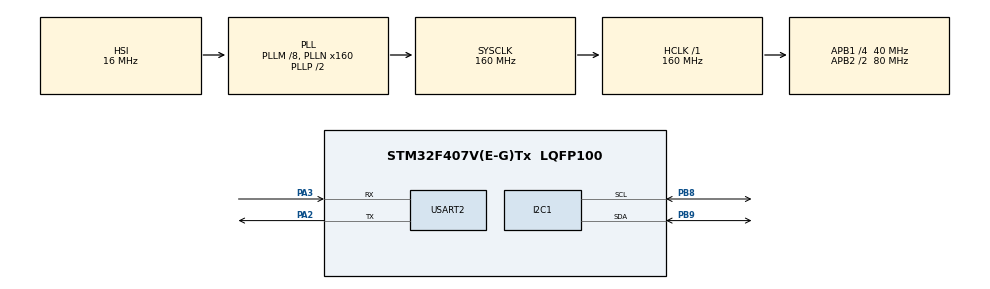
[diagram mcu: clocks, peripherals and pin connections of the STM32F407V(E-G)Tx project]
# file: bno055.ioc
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Dma.I2C1_RX.0.Direction=DMA_PERIPH_TO_MEMORY
Dma.I2C1_RX.0.FIFOMode=DMA_FIFOMODE_DISABLE
Dma.I2C1_RX.0.Instance=DMA1_Stream0
Dma.I2C1_RX.0.MemDataAlignment=DMA_MDATAALIGN_BYTE
Dma.I2C1_RX.0.MemInc=DMA_MINC_ENABLE
Dma.I2C1_RX.0.Mode=DMA_NORMAL
Dma.I2C1_RX.0.PeriphDataAlignment=DMA_PDATAALIGN_BYTE
Dma.I2C1_RX.0.PeriphInc=DMA_PINC_DISABLE
Dma.I2C1_RX.0.Priority=DMA_PRIORITY_LOW
Dma.I2C1_TX.1.Direction=DMA_MEMORY_TO_PERIPH
Dma.I2C1_TX.1.FIFOMode=DMA_FIFOMODE_DISABLE
Dma.I2C1_TX.1.Instance=DMA1_Stream6
Dma.I2C1_TX.1.MemDataAlignment=DMA_MDATAALIGN_BYTE
Dma.I2C1_TX.1.MemInc=DMA_MINC_ENABLE
Dma.I2C1_TX.1.Mode=DMA_NORMAL
Dma.I2C1_TX.1.PeriphDataAlignment=DMA_PDATAALIGN_BYTE
Dma.I2C1_TX.1.PeriphInc=DMA_PINC_DISABLE
Dma.I2C1_TX.1.Priority=DMA_PRIORITY_LOW
Dma.Request0=I2C1_RX
Dma.Request1=I2C1_TX
Mcu.Family=STM32F4
Mcu.Name=STM32F407V(E-G)Tx
Mcu.Package=LQFP100
NVIC.DMA1_Stream0_IRQn=true\:0\:0\:false\:false\:true\:false
NVIC.DMA1_Stream6_IRQn=true\:0\:0\:false\:false\:true\:false
NVIC.PriorityGroup=NVIC_PRIORITYGROUP_0
PA2.Mode=Asynchronous
PA2.Signal=USART2_TX
PA3.Mode=Asynchronous
PA3.Signal=USART2_RX
PB8.Mode=I2C
PB8.Signal=I2C1_SCL
PB9.Mode=I2C
PB9.Signal=I2C1_SDA
ProjectManager.HeapSize=0x200
ProjectManager.StackSize=0x400
ProjectManager.TargetToolchain=SW4STM32
RCC.48MHZClocksFreq_Value=45714285.71428572
RCC.AHBFreq_Value=160000000
RCC.APB1CLKDivider=RCC_HCLK_DIV4
RCC.APB1Freq_Value=40000000
RCC.APB1TimFreq_Value=80000000
RCC.APB2CLKDivider=RCC_HCLK_DIV2
RCC.APB2Freq_Value=80000000
RCC.APB2TimFreq_Value=160000000
RCC.CortexFreq_Value=160000000
RCC.HCLKFreq_Value=160000000
RCC.HSE_VALUE=8000000
RCC.HSI_VALUE=16000000
RCC.PLLM=8
RCC.PLLN=160
RCC.PLLQ=7
RCC.SYSCLKFreq_VALUE=160000000
RCC.SYSCLKSource=RCC_SYSCLKSOURCE_PLLCLK
RCC.VCOOutputFreq_Value=320000000
USART2.VirtualMode=VM_ASYNC
board=STM32F4DISCOVERY

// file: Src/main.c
/* USER CODE BEGIN Header */
/**
  ******************************************************************************
  * @file           : main.c
  * @brief          : Main program body
  ******************************************************************************
  ** This notice applies to any and all portions of this file
  * that are not between comment pairs USER CODE BEGIN and
  * USER CODE END. Other portions of this file, whether
  * inserted by the user or by software development tools
  * are owned by their respective copyright owners.
  *
  * COPYRIGHT(c) 2019 STMicroelectronics
  *
  * Redistribution and use in source and binary forms, with or without modification,
  * are permitted provided that the following conditions are met:
  *   1. Redistributions of source code must retain the above copyright notice,
  *      this list of conditions and the following disclaimer.
  *   2. Redistributions in binary form must reproduce the above copyright notice,
  *      this list of conditions and the following disclaimer in the documentation
  *      and/or other materials provided with the distribution.
  *   3. Neither the name of STMicroelectronics nor the names of its contributors
  *      may be used to endorse or promote products derived from this software
  *      without specific prior written permission.
  *
  * THIS SOFTWARE IS PROVIDED BY THE COPYRIGHT HOLDERS AND CONTRIBUTORS "AS IS"
  * AND ANY EXPRESS OR IMPLIED WARRANTIES, INCLUDING, BUT NOT LIMITED TO, THE
  * IMPLIED WARRANTIES OF MERCHANTABILITY AND FITNESS FOR A PARTICULAR PURPOSE ARE
  * DISCLAIMED. IN NO EVENT SHALL THE COPYRIGHT HOLDER OR CONTRIBUTORS BE LIABLE
  * FOR ANY DIRECT, INDIRECT, INCIDENTAL, SPECIAL, EXEMPLARY, OR CONSEQUENTIAL
  * DAMAGES (INCLUDING, BUT NOT LIMITED TO, PROCUREMENT OF SUBSTITUTE GOODS OR
  * SERVICES; LOSS OF USE, DATA, OR PROFITS; OR BUSINESS INTERRUPTION) HOWEVER
  * CAUSED AND ON ANY THEORY OF LIABILITY, WHETHER IN CONTRACT, STRICT LIABILITY,
  * OR TORT (INCLUDING NEGLIGENCE OR OTHERWISE) ARISING IN ANY WAY OUT OF THE USE
  * OF THIS SOFTWARE, EVEN IF ADVISED OF THE POSSIBILITY OF SUCH DAMAGE.
  *
  ******************************************************************************
  */
/* USER CODE END Header */

#include "main.h"
#include "dma.h"
#include "i2c.h"
#include "usart.h"
#include "gpio.h"

/* USER CODE BEGIN Includes */
#include "accel.h"
/* USER CODE END Includes */

void SystemClock_Config(void);
/* USER CODE BEGIN PFP */
#ifdef __GNUC__
#define PUTCHAR_PROTOTYPE int __io_putchar(int ch)
#else
#define PUTCHAR_PROTOTYPE int fputc(int ch, FILE *f)
#endif /* __GNUC__ */

PUTCHAR_PROTOTYPE {
        while (HAL_UART_Transmit(&huart2, (uint8_t *)&ch, 1, 10) != HAL_OK) {};
 return ch;
}
/* USER CODE END PFP */

int main(void)
{
  /* USER CODE BEGIN 1 */
	uint8_t		imu_readings[IMU_NUMBER_OF_BYTES];
	int16_t 	accel_data[3];
	float		acc_x, acc_y, acc_z;
  /* USER CODE END 1 */

  /* MCU Configuration--------------------------------------------------------*/

  /* Reset of all peripherals, Initializes the Flash interface and the Systick. */
  HAL_Init();

  /* Configure the system clock */
  SystemClock_Config();

  /* Initialize all configured peripherals */
  MX_GPIO_Init();
  MX_DMA_Init();
  MX_USART2_UART_Init();
  MX_I2C1_Init();
  /* USER CODE BEGIN 2 */
  printf("Hello\r\n");
  BNO055_Init_I2C(&hi2c1);
  /* USER CODE END 2 */

  /* Infinite loop */
  /* USER CODE BEGIN WHILE */
  while (1)
  {
	  HAL_Delay(300);
	  GetAccelData(&hi2c1, (uint8_t*)imu_readings);
	  accel_data[0] = (((int16_t)((uint8_t *)(imu_readings))[1] << 8) | ((uint8_t *)(imu_readings))[0]);      // Turn the MSB and LSB into a signed 16-bit value
	  accel_data[1] = (((int16_t)((uint8_t *)(imu_readings))[3] << 8) | ((uint8_t *)(imu_readings))[2]);
	  accel_data[2] = (((int16_t)((uint8_t *)(imu_readings))[5] << 8) | ((uint8_t *)(imu_readings))[4]);
	  acc_x = ((float)(accel_data[0]))/100.0f; //m/s2
	  acc_y = ((float)(accel_data[1]))/100.0f;
	  acc_z = ((float)(accel_data[2]))/100.0f;
	  printf("X: %.2f Y: %.2f Z: %.2f\r\n", acc_x, acc_y, acc_z);
    /* USER CODE END WHILE */

  }
}

void SystemClock_Config(void)
{
  RCC_OscInitTypeDef RCC_OscInitStruct = {0};
  RCC_ClkInitTypeDef RCC_ClkInitStruct = {0};

  /**Configure the main internal regulator output voltage
  */
  __HAL_RCC_PWR_CLK_ENABLE();
  __HAL_PWR_VOLTAGESCALING_CONFIG(PWR_REGULATOR_VOLTAGE_SCALE1);
  /**Initializes the CPU, AHB and APB busses clocks
  */
  RCC_OscInitStruct.OscillatorType = RCC_OSCILLATORTYPE_HSI;
  RCC_OscInitStruct.HSIState = RCC_HSI_ON;
  RCC_OscInitStruct.HSICalibrationValue = RCC_HSICALIBRATION_DEFAULT;
  RCC_OscInitStruct.PLL.PLLState = RCC_PLL_ON;
  RCC_OscInitStruct.PLL.PLLSource = RCC_PLLSOURCE_HSI;
  RCC_OscInitStruct.PLL.PLLM = 8;
  RCC_OscInitStruct.PLL.PLLN = 160;
  RCC_OscInitStruct.PLL.PLLP = RCC_PLLP_DIV2;
  RCC_OscInitStruct.PLL.PLLQ = 7;
  if (HAL_RCC_OscConfig(&RCC_OscInitStruct) != HAL_OK)
  {
    Error_Handler();
  }
  /**Initializes the CPU, AHB and APB busses clocks
  */
  RCC_ClkInitStruct.ClockType = RCC_CLOCKTYPE_HCLK|RCC_CLOCKTYPE_SYSCLK
                              |RCC_CLOCKTYPE_PCLK1|RCC_CLOCKTYPE_PCLK2;
  RCC_ClkInitStruct.SYSCLKSource = RCC_SYSCLKSOURCE_PLLCLK;
  RCC_ClkInitStruct.AHBCLKDivider = RCC_SYSCLK_DIV1;
  RCC_ClkInitStruct.APB1CLKDivider = RCC_HCLK_DIV4;
  RCC_ClkInitStruct.APB2CLKDivider = RCC_HCLK_DIV2;

  if (HAL_RCC_ClockConfig(&RCC_ClkInitStruct, FLASH_LATENCY_5) != HAL_OK)
  {
    Error_Handler();
  }
}

void Error_Handler(void)
{
}

/************************ (C) COPYRIGHT STMicroelectronics *****END OF FILE****/
